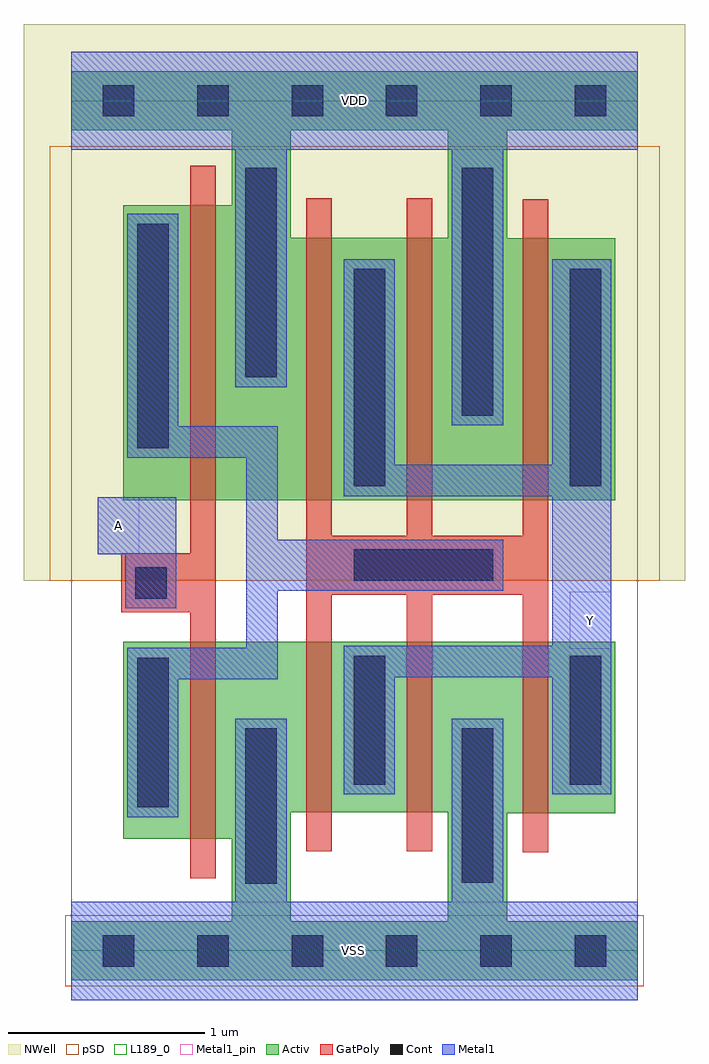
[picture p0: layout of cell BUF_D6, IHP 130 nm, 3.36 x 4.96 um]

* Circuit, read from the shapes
.subckt BUF_D6 A VDD VSS Y
XM1 VSS A n1 VSS sg13_lv_nmos w=1u l=0.13u
XM2 Y n1 VSS VSS sg13_lv_nmos w=0.865u l=0.13u m=2
XM3 Y n1 VSS VSS sg13_lv_nmos w=0.87u l=0.13u
XM4 VDD A n1 VDD sg13_lv_pmos w=1.5u l=0.13u
XM5 Y n1 VDD VDD sg13_lv_pmos w=1.335u l=0.13u m=2
XM6 Y n1 VDD VDD sg13_lv_pmos w=1.33u l=0.13u
.ends

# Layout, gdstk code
import gdstk
lib = gdstk.Library(unit=1e-6, precision=1e-09)
def R(c, l, rs):  # rectangles x0, y0, x1, y1
    for r in rs: c.add(gdstk.rectangle(r[:2], r[2:], *l))
def A(c, l, x, y, w, h, nx, ny, dx, dy):  # array of equal rectangles
    R(c, l, [(x+i*dx, y+j*dy, x+i*dx+w, y+j*dy+h) for i in range(nx) for j in range(ny)])
def P(c, l, *ps):  # polygons
    for p in ps: c.add(gdstk.Polygon(p, *l))
Activ = (1, 0)
GatPoly = (5, 0)
Cont = (6, 0)
Metal1 = (8, 0)
Metal1_pin = (8, 2)
pSD = (14, 0)
NWell = (31, 0)
L189_0 = (189, 0)

buf_d6 = lib.new_cell('BUF_D6')
P(buf_d6, Activ, [(0,-0.15),(0,0.15),(0.815,0.15),(1.115,0.15),(1.915,0.15),(1.915,0.705),(1.115,0.705),(1.115,0.15),(0.815,0.15),(0.815,0.57),(0.265,0.57),(0.265,1.57),(2.765,1.57),(2.765,0.7),(2.215,0.7),(2.215,0.15),(2.88,0.15),(2.88,-0.15)],
  [(0.265,2.29),(0.265,3.625),(1.115,3.625),(1.555,3.625),(1.915,3.625),(1.915,4.17),(1.115,4.17),(1.115,3.625),(0.265,3.625),(0.265,3.79),(0.815,3.79),(0.815,4.17),(0,4.17),(0,4.47),(2.88,4.47),(2.88,4.17),(2.215,4.17),(2.215,3.62),(2.765,3.62),(2.765,2.29)])
P(buf_d6, GatPoly, [(2.295,0.5),(2.295,1.81),(1.835,1.81),(1.835,0.505),(1.705,0.505),(1.705,1.81),(1.325,1.81),(1.325,0.505),(1.195,0.505),(1.195,3.825),(1.325,3.825),(1.325,2.11),(1.705,2.11),(1.705,3.825),(1.835,3.825),(1.835,2.11),(2.295,2.11),(2.295,3.82),(2.425,3.82),(2.425,0.5)],
  [(0.605,0.37),(0.605,1.72),(0.255,1.72),(0.255,2.02),(0.605,2.02),(0.605,3.99),(0.735,3.99),(0.735,0.37)])
A(buf_d6, Cont, 0.16, -0.08, 0.16, 0.16, 6, 2, 0.48, 4.32)
R(buf_d6, Cont, [(0.885,0.34,1.045,1.13), (1.985,0.345,2.145,1.13), (0.335,0.73,0.495,1.49), (1.435,0.845,1.595,1.5), (2.535,0.845,2.695,1.5), (0.325,1.79,0.485,1.95), (1.435,2.36,1.595,3.465), (2.535,2.36,2.695,3.465), (0.335,2.555,0.495,3.695), (1.985,2.72,2.145,3.98), (0.885,2.915,1.045,3.98)])
P(buf_d6, Cont, [(1.435,1.88),(1.435,2.04),(2.145,2.04),(2.145,1.9),(2.145,1.88)])
R(buf_d6, Metal1, [(0.835,2.865,1.095,4.07)])
P(buf_d6, Metal1, [(0.285,0.68),(0.285,1.54),(0.89,1.54),(0.89,2.505),(0.285,2.505),(0.285,3.745),(0.545,3.745),(0.545,2.665),(1.05,2.665),(1.05,2.09),(2.195,2.09),(2.195,1.83),(1.05,1.83),(1.05,1.38),(0.545,1.38),(0.545,0.68)],
  [(1.935,2.67),(1.935,4.07),(0,4.07),(0,4.57),(2.88,4.57),(2.88,4.07),(2.195,4.07),(2.195,2.67)],
  [(1.385,0.795),(1.385,1.55),(2.445,1.55),(2.445,2.31),(1.385,2.31),(1.385,3.515),(1.645,3.515),(1.645,2.47),(2.445,2.47),(2.445,3.515),(2.745,3.515),(2.745,0.795),(2.445,0.795),(2.445,1.39),(1.645,1.39),(1.645,0.795)],
  [(0.275,1.74),(0.275,2.015),(0.135,2.015),(0.135,2.305),(0.535,2.305),(0.535,1.74)],
  [(0,-0.25),(0,0.25),(0.835,0.25),(0.835,1.18),(1.095,1.18),(1.095,0.25),(1.935,0.25),(1.935,1.18),(2.195,1.18),(2.195,0.25),(2.88,0.25),(2.88,-0.25)])
R(buf_d6, Metal1_pin, [(0,-0.25,2.88,0.25), (2.535,1.535,2.745,1.825), (0.135,2.015,0.345,2.305), (0,4.07,2.88,4.57)])
R(buf_d6, pSD, [(-0.03,-0.18,2.91,0.18), (-0.11,1.88,2.99,4.09)])
R(buf_d6, NWell, [(-0.24,1.88,3.12,4.71)])
R(buf_d6, L189_0, [(0,0,2.88,4.32)])
buf_d6.add(gdstk.Label('A', (0.24,2.16), layer=8, texttype=25))
buf_d6.add(gdstk.Label('Y', (2.64,1.68), layer=8, texttype=25))
buf_d6.add(gdstk.Label('VSS', (1.435,0), layer=8, texttype=25))
buf_d6.add(gdstk.Label('VDD', (1.44,4.32), layer=8, texttype=25))

lib.write_gds('BUF_D6.gds')
